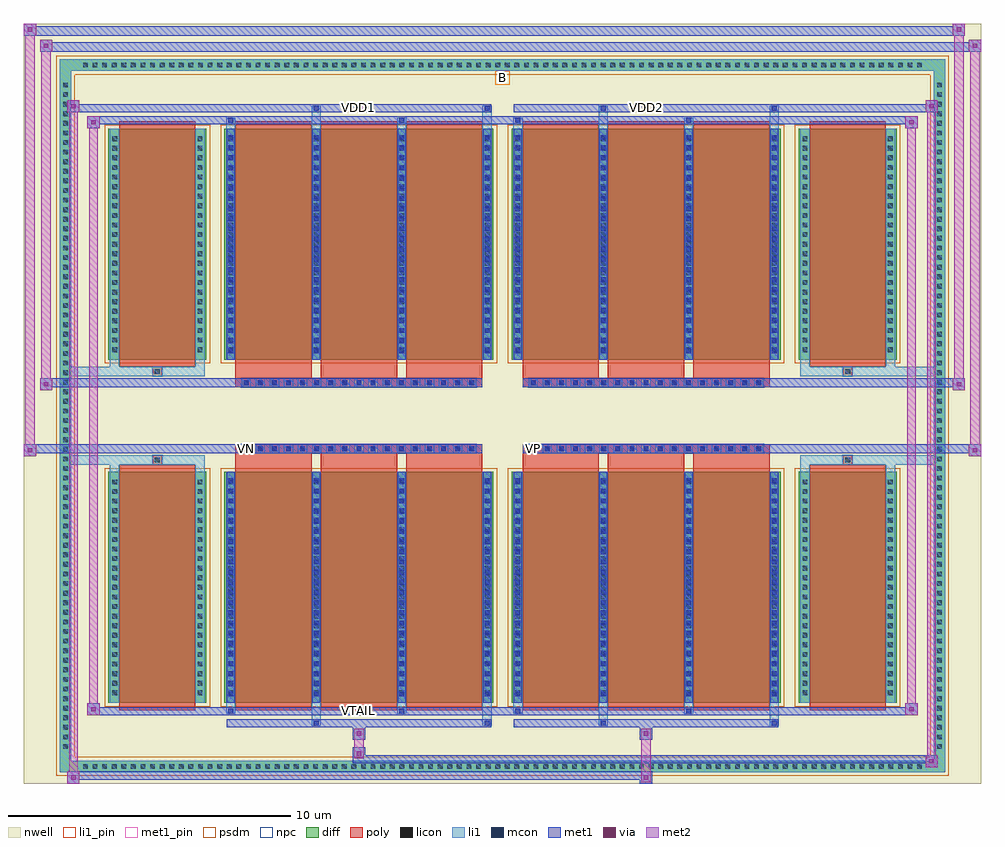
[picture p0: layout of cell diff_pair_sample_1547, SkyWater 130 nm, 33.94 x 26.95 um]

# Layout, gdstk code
import gdstk
lib = gdstk.Library(unit=1e-6, precision=5e-09)
def R(c, l, rs):  # rectangles x0, y0, x1, y1
    for r in rs: c.add(gdstk.rectangle(r[:2], r[2:], *l))
def A(c, l, x, y, w, h, nx, ny, dx, dy):  # array of equal rectangles
    R(c, l, [(x+i*dx, y+j*dy, x+i*dx+w, y+j*dy+h) for i in range(nx) for j in range(ny)])
def P(c, l, *ps):  # polygons
    for p in ps: c.add(gdstk.Polygon(p, *l))
nwell = (64, 20)
diff = (65, 20)
poly = (66, 20)
licon = (66, 44)
li1_pin = (67, 16)
li1 = (67, 20)
mcon = (67, 44)
met1_pin = (68, 16)
met1 = (68, 20)
via = (68, 44)
met2 = (69, 20)
psdm = (94, 20)
npc = (95, 20)

diff_pair_sample_1547 = lib.new_cell('diff_pair_sample_1547')
R(diff_pair_sample_1547, nwell, [(-16.97,-13.04,16.97,13.91), (-14.29,-11.23,-0.01,-0.805), (0.01,-11.23,14.29,-0.805), (-14.29,0.805,-0.01,11.23), (0.01,0.805,14.29,11.23)])
A(diff_pair_sample_1547, diff, -14.995, -12.64, 0.41, 0.41, 88, 2, 0.34, 24.87)
A(diff_pair_sample_1547, diff, -15.7, -11.935, 0.41, 0.41, 1, 70, 0, 0.34)
A(diff_pair_sample_1547, diff, 15.29, -11.935, 0.41, 0.41, 1, 70, 0, 0.34)
R(diff_pair_sample_1547, diff, [(-14.995,-12.64,14.995,-12.23), (-15.7,-11.935,-15.29,11.935), (15.29,-11.935,15.7,11.935), (-13.98,-10.185,-10.5,-1.985), (-9.86,-10.185,-0.32,-1.985), (0.32,-10.185,9.86,-1.985), (10.5,-10.185,13.98,-1.985), (-13.98,1.985,-10.5,10.185), (-9.86,1.985,-0.32,10.185), (0.32,1.985,9.86,10.185), (10.5,1.985,13.98,10.185), (-14.995,12.23,14.995,12.64)])
P(diff_pair_sample_1547, diff, [(15.7,12.64),(-15.7,12.64),(-15.7,-12.23),(-15.29,-12.23),(-15.29,12.23),(15.29,12.23),(15.29,-12.23),(-15.29,-12.23),(-15.7,-12.23),(-15.7,-12.64),(15.7,-12.64)])
A(diff_pair_sample_1547, poly, -9.47, -10.435, 2.7, 8.7, 3, 2, 3.03, 12.17)
A(diff_pair_sample_1547, poly, 0.71, -10.435, 2.7, 8.7, 3, 2, 3.03, 12.17)
A(diff_pair_sample_1547, poly, -9.47, -1.735, 2.7, 0.4, 3, 2, 3.03, 3.07)
A(diff_pair_sample_1547, poly, 0.71, -1.735, 2.7, 0.4, 3, 2, 3.03, 3.07)
A(diff_pair_sample_1547, poly, -9.255, -1.335, 0.33, 0.33, 17, 2, 0.5, 2.34)
A(diff_pair_sample_1547, poly, 0.925, -1.335, 0.33, 0.33, 17, 2, 0.5, 2.34)
R(diff_pair_sample_1547, poly, [(-13.59,-10.435,-10.89,-1.735), (10.89,-10.435,13.59,-1.735), (-12.405,-1.735,-12.075,-1.405), (-12.405,-1.735,-12.075,-1.405), (12.075,-1.735,12.405,-1.405), (12.075,-1.735,12.405,-1.405), (-9.47,-1.335,-0.71,-1.005), (0.71,-1.335,9.47,-1.005), (-9.47,1.005,-0.71,1.335), (0.71,1.005,9.47,1.335), (-12.405,1.405,-12.075,1.735), (-12.405,1.405,-12.075,1.735), (12.075,1.405,12.405,1.735), (12.075,1.405,12.405,1.735), (-13.59,1.735,-10.89,10.435), (10.89,1.735,13.59,10.435)])
A(diff_pair_sample_1547, licon, -14.875, -12.52, 0.17, 0.17, 88, 2, 0.34, 24.87)
A(diff_pair_sample_1547, licon, -15.58, -11.815, 0.17, 0.17, 1, 70, 0, 0.34)
A(diff_pair_sample_1547, licon, 15.41, -11.815, 0.17, 0.17, 1, 70, 0, 0.34)
A(diff_pair_sample_1547, licon, -13.84, -9.91, 0.17, 0.17, 1, 23, 0, 0.34)
A(diff_pair_sample_1547, licon, -10.81, -9.91, 0.17, 0.17, 1, 23, 0, 0.34)
A(diff_pair_sample_1547, licon, -9.72, -9.91, 0.17, 0.17, 4, 23, 3.03, 0.34)
A(diff_pair_sample_1547, licon, 0.46, -9.91, 0.17, 0.17, 4, 23, 3.03, 0.34)
A(diff_pair_sample_1547, licon, 10.64, -9.91, 0.17, 0.17, 1, 23, 0, 0.34)
A(diff_pair_sample_1547, licon, 13.67, -9.91, 0.17, 0.17, 1, 23, 0, 0.34)
A(diff_pair_sample_1547, licon, -9.175, -1.255, 0.17, 0.17, 17, 2, 0.5, 2.34)
A(diff_pair_sample_1547, licon, 1.005, -1.255, 0.17, 0.17, 17, 2, 0.5, 2.34)
A(diff_pair_sample_1547, licon, -13.84, 2.26, 0.17, 0.17, 1, 23, 0, 0.34)
A(diff_pair_sample_1547, licon, -10.81, 2.26, 0.17, 0.17, 1, 23, 0, 0.34)
A(diff_pair_sample_1547, licon, -9.72, 2.26, 0.17, 0.17, 4, 23, 3.03, 0.34)
A(diff_pair_sample_1547, licon, 0.46, 2.26, 0.17, 0.17, 4, 23, 3.03, 0.34)
A(diff_pair_sample_1547, licon, 10.64, 2.26, 0.17, 0.17, 1, 23, 0, 0.34)
A(diff_pair_sample_1547, licon, 13.67, 2.26, 0.17, 0.17, 1, 23, 0, 0.34)
R(diff_pair_sample_1547, licon, [(-12.325,-1.655,-12.155,-1.485), (12.155,-1.655,12.325,-1.485), (-12.325,1.485,-12.155,1.655), (12.155,1.485,12.325,1.655)])
R(diff_pair_sample_1547, li1_pin, [(-0.25,11.73,0.25,12.23)])
A(diff_pair_sample_1547, li1, -14.955, -12.6, 0.33, 0.33, 88, 2, 0.34, 24.87)
A(diff_pair_sample_1547, li1, -15.66, -11.895, 0.33, 0.33, 1, 70, 0, 0.34)
A(diff_pair_sample_1547, li1, 15.33, -11.895, 0.33, 0.33, 1, 70, 0, 0.34)
A(diff_pair_sample_1547, li1, -9.8, -10.185, 0.33, 8.2, 4, 2, 3.03, 12.17)
A(diff_pair_sample_1547, li1, 0.38, -10.185, 0.33, 8.2, 4, 2, 3.03, 12.17)
A(diff_pair_sample_1547, li1, -13.92, -9.99, 0.33, 0.33, 1, 23, 0, 0.34)
A(diff_pair_sample_1547, li1, -10.89, -9.99, 0.33, 0.33, 1, 23, 0, 0.34)
A(diff_pair_sample_1547, li1, -9.8, -9.99, 0.33, 0.33, 4, 23, 3.03, 0.34)
A(diff_pair_sample_1547, li1, 0.38, -9.99, 0.33, 0.33, 4, 23, 3.03, 0.34)
A(diff_pair_sample_1547, li1, 10.56, -9.99, 0.33, 0.33, 1, 23, 0, 0.34)
A(diff_pair_sample_1547, li1, 13.59, -9.99, 0.33, 0.33, 1, 23, 0, 0.34)
A(diff_pair_sample_1547, li1, -9.72, -9.95, 0.17, 0.17, 4, 22, 3.03, 0.36)
A(diff_pair_sample_1547, li1, -9.72, -9.95, 0.17, 7.73, 4, 2, 3.03, 12.17)
A(diff_pair_sample_1547, li1, 0.46, -9.95, 0.17, 0.17, 4, 22, 3.03, 0.36)
A(diff_pair_sample_1547, li1, 0.46, -9.95, 0.17, 7.73, 4, 2, 3.03, 12.17)
A(diff_pair_sample_1547, li1, -9.255, -1.335, 0.33, 0.33, 17, 2, 0.5, 2.34)
A(diff_pair_sample_1547, li1, 0.925, -1.335, 0.33, 0.33, 17, 2, 0.5, 2.34)
A(diff_pair_sample_1547, li1, -13.92, 2.18, 0.33, 0.33, 1, 23, 0, 0.34)
A(diff_pair_sample_1547, li1, -10.89, 2.18, 0.33, 0.33, 1, 23, 0, 0.34)
A(diff_pair_sample_1547, li1, -9.8, 2.18, 0.33, 0.33, 4, 23, 3.03, 0.34)
A(diff_pair_sample_1547, li1, 0.38, 2.18, 0.33, 0.33, 4, 23, 3.03, 0.34)
A(diff_pair_sample_1547, li1, 10.56, 2.18, 0.33, 0.33, 1, 23, 0, 0.34)
A(diff_pair_sample_1547, li1, 13.59, 2.18, 0.33, 0.33, 1, 23, 0, 0.34)
A(diff_pair_sample_1547, li1, -9.72, 2.22, 0.17, 0.17, 4, 22, 3.03, 0.36)
A(diff_pair_sample_1547, li1, 0.46, 2.22, 0.17, 0.17, 4, 22, 3.03, 0.36)
R(diff_pair_sample_1547, li1, [(-15.7,-12.64,-15.29,-12.23), (-15.7,-12.64,-15.29,-12.23), (-15.29,-12.64,15.29,-12.23), (15.29,-12.64,15.7,-12.23), (15.29,-12.64,15.7,-12.23), (-15.7,-12.23,-15.29,12.23), (15.29,-12.23,15.7,12.23), (-6.77,-10.99,-6.44,-10.185), (-6.69,-10.99,-6.52,-10.82), (-0.71,-10.99,-0.38,-10.185), (-0.63,-10.99,-0.46,-10.82), (3.41,-10.99,3.74,-10.185), (3.49,-10.99,3.66,-10.82), (9.47,-10.99,9.8,-10.185), (9.55,-10.99,9.72,-10.82), (-9.8,-10.56,-9.47,-10.185), (-9.72,-10.56,-9.55,-10.39), (-3.74,-10.56,-3.41,-10.185), (-3.66,-10.56,-3.49,-10.39), (0.38,-10.56,0.71,-10.185), (0.46,-10.56,0.63,-10.39), (6.44,-10.56,6.77,-10.185), (6.52,-10.56,6.69,-10.39), (-13.92,-10.185,-13.59,-1.985), (-10.89,-10.185,-10.56,-1.985), (10.56,-10.185,10.89,-1.985), (13.59,-10.185,13.92,-1.985), (-13.92,-1.985,-13.59,-1.405), (-10.89,-1.985,-10.56,-1.405), (10.56,-1.985,10.89,-1.405), (13.59,-1.985,13.92,-1.405), (-15.7,-1.735,-12.405,-1.405), (-13.92,-1.735,-12.405,-1.405), (-12.405,-1.735,-12.075,-1.405), (-12.075,-1.735,-10.56,-1.405), (10.56,-1.735,12.075,-1.405), (12.075,-1.735,12.405,-1.405), (12.075,-1.735,15.7,-1.405), (12.405,-1.735,13.92,-1.405), (-15.7,1.405,-12.405,1.735), (-13.92,1.405,-12.405,1.735), (-13.92,1.405,-13.59,1.985), (-12.405,1.405,-12.075,1.735), (-12.075,1.405,-10.56,1.735), (-10.89,1.405,-10.56,1.985), (10.56,1.405,12.075,1.735), (10.56,1.405,10.89,1.985), (12.075,1.405,12.405,1.735), (12.075,1.405,15.7,1.735), (12.405,1.405,13.92,1.735), (13.59,1.405,13.92,1.985), (-13.92,1.985,-13.59,10.185), (-10.89,1.985,-10.56,10.185), (10.56,1.985,10.89,10.185), (13.59,1.985,13.92,10.185), (-9.8,10.185,-9.47,10.56), (-6.77,10.185,-6.44,10.99), (-3.74,10.185,-3.41,10.56), (-0.71,10.185,-0.38,10.99), (0.38,10.185,0.71,10.56), (3.41,10.185,3.74,10.99), (6.44,10.185,6.77,10.56), (9.47,10.185,9.8,10.99), (-9.72,10.39,-9.55,10.56), (-3.66,10.39,-3.49,10.56), (0.46,10.39,0.63,10.56), (6.52,10.39,6.69,10.56), (-6.69,10.82,-6.52,10.99), (-0.63,10.82,-0.46,10.99), (3.49,10.82,3.66,10.99), (9.55,10.82,9.72,10.99), (-15.7,12.23,-15.29,12.64), (-15.7,12.23,-15.29,12.64), (-15.29,12.23,15.29,12.64), (15.29,12.23,15.7,12.64), (15.29,12.23,15.7,12.64)])
A(diff_pair_sample_1547, mcon, -9.72, -9.95, 0.17, 0.17, 4, 22, 3.03, 0.36)
A(diff_pair_sample_1547, mcon, 0.46, -9.95, 0.17, 0.17, 4, 22, 3.03, 0.36)
A(diff_pair_sample_1547, mcon, -9.175, -1.255, 0.17, 0.17, 17, 2, 0.5, 2.34)
A(diff_pair_sample_1547, mcon, 1.005, -1.255, 0.17, 0.17, 17, 2, 0.5, 2.34)
A(diff_pair_sample_1547, mcon, -9.72, 2.22, 0.17, 0.17, 4, 22, 3.03, 0.36)
A(diff_pair_sample_1547, mcon, 0.46, 2.22, 0.17, 0.17, 4, 22, 3.03, 0.36)
R(diff_pair_sample_1547, mcon, [(-6.69,-10.99,-6.52,-10.82), (-0.63,-10.99,-0.46,-10.82), (3.49,-10.99,3.66,-10.82), (9.55,-10.99,9.72,-10.82), (-9.72,-10.56,-9.55,-10.39), (-3.66,-10.56,-3.49,-10.39), (0.46,-10.56,0.63,-10.39), (6.52,-10.56,6.69,-10.39), (-9.72,10.39,-9.55,10.56), (-3.66,10.39,-3.49,10.56), (0.46,10.39,0.63,10.56), (6.52,10.39,6.69,10.56), (-6.69,10.82,-6.52,10.99), (-0.63,10.82,-0.46,10.99), (3.49,10.82,3.66,10.99), (9.55,10.82,9.72,10.99)])
R(diff_pair_sample_1547, met1_pin, [(-5.225,-10.6,-4.955,-10.33), (-9.225,-1.295,-8.955,-1.025), (0.955,-1.295,1.225,-1.025), (-5.225,10.78,-4.955,11.05), (4.955,10.78,5.225,11.05)])
A(diff_pair_sample_1547, met1, -9.78, -10.185, 0.29, 8.2, 4, 2, 3.03, 12.17)
A(diff_pair_sample_1547, met1, 0.4, -10.185, 0.29, 8.2, 4, 2, 3.03, 12.17)
A(diff_pair_sample_1547, met1, -9.78, -10.01, 0.29, 0.29, 4, 22, 3.03, 0.36)
A(diff_pair_sample_1547, met1, 0.4, -10.01, 0.29, 0.29, 4, 22, 3.03, 0.36)
A(diff_pair_sample_1547, met1, -9.235, -1.315, 0.29, 0.29, 17, 2, 0.5, 2.34)
A(diff_pair_sample_1547, met1, 0.945, -1.315, 0.29, 0.29, 17, 2, 0.5, 2.34)
A(diff_pair_sample_1547, met1, -9.78, 2.16, 0.29, 0.29, 4, 22, 3.03, 0.36)
A(diff_pair_sample_1547, met1, 0.4, 2.16, 0.29, 0.29, 4, 22, 3.03, 0.36)
R(diff_pair_sample_1547, met1, [(-15.43,-13.04,-15,-12.61), (4.875,-13.04,5.305,-12.61), (-15.43,-12.9,5.305,-12.61), (15,-12.47,15.43,-12.04), (-5.305,-12.33,15.43,-12.04), (-5.305,-12.19,-4.875,-11.76), (-5.305,-11.48,-4.875,-11.05), (4.875,-11.48,5.305,-11.05), (-9.78,-11.05,-0.4,-10.76), (-6.75,-11.05,-6.46,-10.76), (-0.69,-11.05,-0.4,-10.76), (0.4,-11.05,9.78,-10.76), (3.43,-11.05,3.72,-10.76), (9.49,-11.05,9.78,-10.76), (-14.72,-10.62,-14.29,-10.19), (-14.72,-10.62,-9.78,-10.33), (-9.78,-10.62,-9.49,-10.33), (-9.78,-10.62,-0.4,-10.33), (-3.72,-10.62,-3.43,-10.33), (-0.4,-10.62,0.4,-10.33), (0.4,-10.62,0.69,-10.33), (0.4,-10.62,9.78,-10.33), (6.46,-10.62,6.75,-10.33), (9.78,-10.62,14.72,-10.33), (14.29,-10.62,14.72,-10.19), (-16.97,-1.435,-16.54,-1.005), (16.54,-1.435,16.97,-1.005), (-16.97,-1.335,-0.71,-1.005), (-9.47,-1.335,-0.71,-1.005), (0.71,-1.335,9.47,-1.005), (0.71,-1.335,16.97,-1.005), (-16.4,0.905,-15.97,1.335), (15.97,0.905,16.4,1.335), (-16.4,1.005,-9.47,1.335), (-9.47,1.005,-0.71,1.335), (0.71,1.005,9.47,1.335), (9.47,1.005,16.4,1.335), (-14.72,10.19,-14.29,10.62), (14.29,10.19,14.72,10.62), (-14.72,10.33,-9.78,10.62), (-9.78,10.33,-9.49,10.62), (-9.78,10.33,-0.4,10.62), (-3.72,10.33,-3.43,10.62), (-0.4,10.33,0.4,10.62), (0.4,10.33,0.69,10.62), (0.4,10.33,9.78,10.62), (6.46,10.33,6.75,10.62), (9.78,10.33,14.72,10.62), (-15.43,10.76,-15,11.19), (-15.43,10.76,-9.78,11.05), (-9.78,10.76,-0.4,11.05), (-6.75,10.76,-6.46,11.05), (-0.69,10.76,-0.4,11.05), (0.4,10.76,9.78,11.05), (3.43,10.76,3.72,11.05), (9.49,10.76,9.78,11.05), (9.78,10.76,15.43,11.05), (15,10.76,15.43,11.19), (-16.4,12.91,-15.97,13.34), (-16.4,12.91,-14.29,13.24), (-14.29,12.91,14.29,13.24), (14.29,12.91,16.97,13.24), (16.54,12.91,16.97,13.34), (-16.97,13.48,-16.54,13.91), (-16.97,13.48,-14.29,13.81), (-14.29,13.48,14.29,13.81), (14.29,13.48,16.4,13.81), (15.97,13.48,16.4,13.91)])
R(diff_pair_sample_1547, via, [(-15.29,-12.9,-15.14,-12.75), (5.015,-12.9,5.165,-12.75), (15.14,-12.33,15.29,-12.18), (-5.165,-12.05,-5.015,-11.9), (-5.165,-11.34,-5.015,-11.19), (5.015,-11.34,5.165,-11.19), (-14.58,-10.48,-14.43,-10.33), (14.43,-10.48,14.58,-10.33), (-16.83,-1.295,-16.68,-1.145), (16.68,-1.295,16.83,-1.145), (-16.26,1.045,-16.11,1.195), (16.11,1.045,16.26,1.195), (-14.58,10.33,-14.43,10.48), (14.43,10.33,14.58,10.48), (-15.29,10.9,-15.14,11.05), (15.14,10.9,15.29,11.05), (-16.26,13.05,-16.11,13.2), (16.68,13.05,16.83,13.2), (-16.83,13.62,-16.68,13.77), (16.11,13.62,16.26,13.77)])
R(diff_pair_sample_1547, met2, [(-15.43,-13.04,-15,-12.61), (-15.36,-13.04,-15.07,11.19), (-15.07,-13.04,-15,-12.61), (-15.38,-12.99,-15.05,-12.66), (4.925,-12.99,5.255,-12.66), (4.925,-12.66,5.255,-11.43), (15,-12.47,15.43,-12.04), (15.07,-12.47,15.36,11.19), (15.36,-12.47,15.43,-12.04), (15.05,-12.42,15.38,-12.09), (-5.255,-12.14,-4.925,-11.81), (-5.255,-11.81,-4.925,-11.43), (-5.255,-11.43,-4.925,-11.1), (4.925,-11.43,5.255,-11.1), (-14.72,-10.62,-14.29,-10.19), (-14.65,-10.62,-14.36,10.62), (-14.36,-10.62,-14.29,-10.19), (14.29,-10.62,14.72,-10.19), (14.36,-10.62,14.65,10.62), (14.65,-10.62,14.72,-10.19), (-14.67,-10.57,-14.34,-10.24), (14.34,-10.57,14.67,-10.24), (-16.97,-1.435,-16.54,-1.005), (-16.92,-1.435,-16.59,13.91), (-16.59,-1.435,-16.54,-1.005), (16.54,-1.435,16.97,-1.005), (16.59,-1.435,16.92,13.34), (16.92,-1.435,16.97,-1.005), (-16.92,-1.385,-16.59,-1.055), (16.59,-1.385,16.92,-1.055), (-16.4,0.905,-15.97,1.335), (-16.35,0.905,-16.02,13.34), (-16.02,0.905,-15.97,1.335), (15.97,0.905,16.4,1.335), (16.02,0.905,16.35,13.91), (16.35,0.905,16.4,1.335), (-16.35,0.955,-16.02,1.285), (16.02,0.955,16.35,1.285), (-14.72,10.19,-14.29,10.62), (-14.36,10.19,-14.29,10.62), (14.29,10.19,14.72,10.62), (14.65,10.19,14.72,10.62), (-14.67,10.24,-14.34,10.57), (14.34,10.24,14.67,10.57), (-15.43,10.76,-15,11.19), (-15.07,10.76,-15,11.19), (15,10.76,15.43,11.19), (15.36,10.76,15.43,11.19), (-15.38,10.81,-15.05,11.14), (15.05,10.81,15.38,11.14), (-16.4,12.91,-15.97,13.34), (-16.02,12.91,-15.97,13.34), (16.54,12.91,16.97,13.34), (16.92,12.91,16.97,13.34), (-16.35,12.96,-16.02,13.29), (16.59,12.96,16.92,13.29), (-16.97,13.48,-16.54,13.91), (-16.59,13.48,-16.54,13.91), (15.97,13.48,16.4,13.91), (16.35,13.48,16.4,13.91), (-16.92,13.53,-16.59,13.86), (16.02,13.53,16.35,13.86)])
R(diff_pair_sample_1547, psdm, [(-14.11,-10.315,-10.37,-1.855), (-9.99,-10.315,-0.19,-1.855), (0.19,-10.315,9.99,-1.855), (10.37,-10.315,14.11,-1.855), (-14.11,1.855,-10.37,10.315), (-9.99,1.855,-0.19,10.315), (0.19,1.855,9.99,10.315), (10.37,1.855,14.11,10.315)])
P(diff_pair_sample_1547, psdm, [(15.83,12.77),(-15.83,12.77),(-15.83,-12.1),(-15.16,-12.1),(-15.16,12.1),(15.16,12.1),(15.16,-12.1),(-15.16,-12.1),(-15.83,-12.1),(-15.83,-12.77),(15.83,-12.77)])
A(diff_pair_sample_1547, npc, -9.275, -1.355, 0.37, 0.37, 17, 2, 0.5, 2.34)
A(diff_pair_sample_1547, npc, 0.905, -1.355, 0.37, 0.37, 17, 2, 0.5, 2.34)
R(diff_pair_sample_1547, npc, [(-12.425,-1.755,-12.055,-1.385), (12.055,-1.755,12.425,-1.385), (-9.275,-1.355,-8.405,-0.985), (-9.275,-1.355,-8.405,-0.985), (-8.775,-1.355,-7.905,-0.985), (-8.775,-1.355,-7.905,-0.985), (-8.275,-1.355,-7.405,-0.985), (-8.275,-1.355,-7.405,-0.985), (-7.775,-1.355,-6.905,-0.985), (-7.775,-1.355,-6.905,-0.985), (-7.275,-1.355,-6.405,-0.985), (-7.275,-1.355,-6.405,-0.985), (-6.775,-1.355,-5.905,-0.985), (-6.775,-1.355,-5.905,-0.985), (-6.275,-1.355,-5.405,-0.985), (-6.275,-1.355,-5.405,-0.985), (-5.775,-1.355,-4.905,-0.985), (-5.775,-1.355,-4.905,-0.985), (-5.275,-1.355,-4.405,-0.985), (-5.275,-1.355,-4.405,-0.985), (-4.775,-1.355,-3.905,-0.985), (-4.775,-1.355,-3.905,-0.985), (-4.275,-1.355,-3.405,-0.985), (-4.275,-1.355,-3.405,-0.985), (-3.775,-1.355,-2.905,-0.985), (-3.775,-1.355,-2.905,-0.985), (-3.275,-1.355,-2.405,-0.985), (-3.275,-1.355,-2.405,-0.985), (-2.775,-1.355,-1.905,-0.985), (-2.775,-1.355,-1.905,-0.985), (-2.275,-1.355,-1.405,-0.985), (-2.275,-1.355,-1.405,-0.985), (-1.775,-1.355,-0.905,-0.985), (-1.775,-1.355,-0.905,-0.985), (0.905,-1.355,1.775,-0.985), (0.905,-1.355,1.775,-0.985), (1.405,-1.355,2.275,-0.985), (1.405,-1.355,2.275,-0.985), (1.905,-1.355,2.775,-0.985), (1.905,-1.355,2.775,-0.985), (2.405,-1.355,3.275,-0.985), (2.405,-1.355,3.275,-0.985), (2.905,-1.355,3.775,-0.985), (2.905,-1.355,3.775,-0.985), (3.405,-1.355,4.275,-0.985), (3.405,-1.355,4.275,-0.985), (3.905,-1.355,4.775,-0.985), (3.905,-1.355,4.775,-0.985), (4.405,-1.355,5.275,-0.985), (4.405,-1.355,5.275,-0.985), (4.905,-1.355,5.775,-0.985), (4.905,-1.355,5.775,-0.985), (5.405,-1.355,6.275,-0.985), (5.405,-1.355,6.275,-0.985), (5.905,-1.355,6.775,-0.985), (5.905,-1.355,6.775,-0.985), (6.405,-1.355,7.275,-0.985), (6.405,-1.355,7.275,-0.985), (6.905,-1.355,7.775,-0.985), (6.905,-1.355,7.775,-0.985), (7.405,-1.355,8.275,-0.985), (7.405,-1.355,8.275,-0.985), (7.905,-1.355,8.775,-0.985), (7.905,-1.355,8.775,-0.985), (8.405,-1.355,9.275,-0.985), (8.405,-1.355,9.275,-0.985), (-9.275,0.985,-8.405,1.355), (-9.275,0.985,-8.405,1.355), (-8.775,0.985,-7.905,1.355), (-8.775,0.985,-7.905,1.355), (-8.275,0.985,-7.405,1.355), (-8.275,0.985,-7.405,1.355), (-7.775,0.985,-6.905,1.355), (-7.775,0.985,-6.905,1.355), (-7.275,0.985,-6.405,1.355), (-7.275,0.985,-6.405,1.355), (-6.775,0.985,-5.905,1.355), (-6.775,0.985,-5.905,1.355), (-6.275,0.985,-5.405,1.355), (-6.275,0.985,-5.405,1.355), (-5.775,0.985,-4.905,1.355), (-5.775,0.985,-4.905,1.355), (-5.275,0.985,-4.405,1.355), (-5.275,0.985,-4.405,1.355), (-4.775,0.985,-3.905,1.355), (-4.775,0.985,-3.905,1.355), (-4.275,0.985,-3.405,1.355), (-4.275,0.985,-3.405,1.355), (-3.775,0.985,-2.905,1.355), (-3.775,0.985,-2.905,1.355), (-3.275,0.985,-2.405,1.355), (-3.275,0.985,-2.405,1.355), (-2.775,0.985,-1.905,1.355), (-2.775,0.985,-1.905,1.355), (-2.275,0.985,-1.405,1.355), (-2.275,0.985,-1.405,1.355), (-1.775,0.985,-0.905,1.355), (-1.775,0.985,-0.905,1.355), (0.905,0.985,1.775,1.355), (0.905,0.985,1.775,1.355), (1.405,0.985,2.275,1.355), (1.405,0.985,2.275,1.355), (1.905,0.985,2.775,1.355), (1.905,0.985,2.775,1.355), (2.405,0.985,3.275,1.355), (2.405,0.985,3.275,1.355), (2.905,0.985,3.775,1.355), (2.905,0.985,3.775,1.355), (3.405,0.985,4.275,1.355), (3.405,0.985,4.275,1.355), (3.905,0.985,4.775,1.355), (3.905,0.985,4.775,1.355), (4.405,0.985,5.275,1.355), (4.405,0.985,5.275,1.355), (4.905,0.985,5.775,1.355), (4.905,0.985,5.775,1.355), (5.405,0.985,6.275,1.355), (5.405,0.985,6.275,1.355), (5.905,0.985,6.775,1.355), (5.905,0.985,6.775,1.355), (6.405,0.985,7.275,1.355), (6.405,0.985,7.275,1.355), (6.905,0.985,7.775,1.355), (6.905,0.985,7.775,1.355), (7.405,0.985,8.275,1.355), (7.405,0.985,8.275,1.355), (7.905,0.985,8.775,1.355), (7.905,0.985,8.775,1.355), (8.405,0.985,9.275,1.355), (8.405,0.985,9.275,1.355), (-12.425,1.385,-12.055,1.755), (12.055,1.385,12.425,1.755)])
diff_pair_sample_1547.add(gdstk.Label('VTAIL', (-5.09,-10.465), layer=68, texttype=5))
diff_pair_sample_1547.add(gdstk.Label('VN', (-9.09,-1.16), layer=68, texttype=5))
diff_pair_sample_1547.add(gdstk.Label('VP', (1.09,-1.16), layer=68, texttype=5))
diff_pair_sample_1547.add(gdstk.Label('B', (0,11.98), layer=67, texttype=5))
diff_pair_sample_1547.add(gdstk.Label('VDD2', (5.09,10.915), layer=68, texttype=5))
diff_pair_sample_1547.add(gdstk.Label('VDD1', (-5.09,10.915), layer=68, texttype=5))

lib.write_gds('diff_pair_sample_1547.gds')
